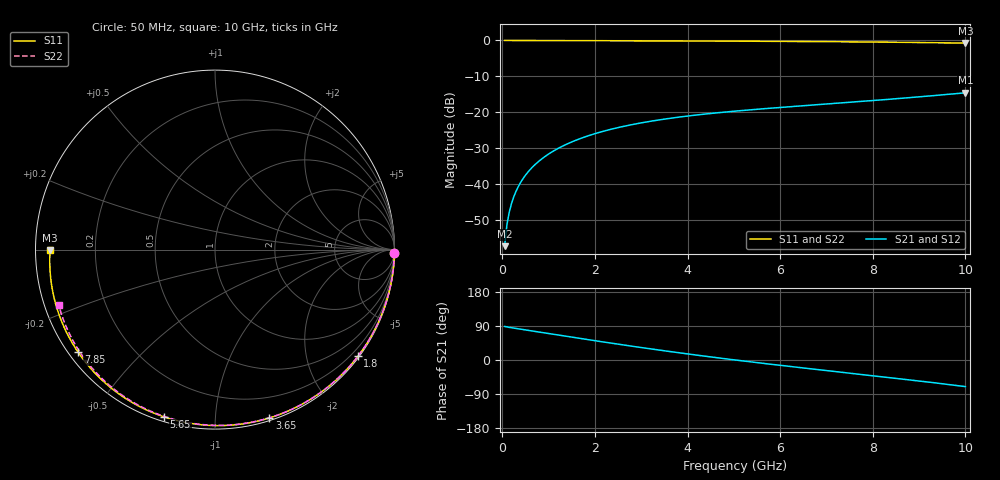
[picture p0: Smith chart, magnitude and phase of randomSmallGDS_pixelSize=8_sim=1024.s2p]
! freq	dB(S11)	phase(S11)	dB(S12)	phase(S12)
!  dB(S21)	phase(S21)	dB(S22)	phase(S22)
!S-par simulation data
#  GHz  S  DB  R 50
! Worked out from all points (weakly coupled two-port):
!   200 points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, 50 MHz to 10 GHz, reference 50 ohm
!   highest |S21| = -14.57 dB at 10 GHz (marker M1); lowest = -57.2 dB at 50 MHz (marker M2)
!   lowest |S11| = -0.7 dB at 10 GHz (marker M3), VSWR 23.62, Z = 2.12 - j0.0427 ohm
!   |S11| at or under -10 dB: nowhere
!   |S22| runs from -0.7 to 0.0 dB; largest |S21 - S12| = 0
!   S11 on the Smith chart (normalised r, x): 50 MHz: open; 1.8 GHz: 0.03, -3.01; 3.65 GHz: 0.02, -1.37; 5.65 GHz: 0.02, -0.74; 7.85 GHz: 0.03, -0.33; 10 GHz: 0.04, -0.00
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0.05  -0.00 -1.0  -57.22 88.5  -57.22 88.5  -0.00 -1.0
0.1  -0.00 -2.1  -51.25 87.2  -51.25 87.2  -0.00 -1.9
0.15  -0.00 -3.1  -47.77 86.1  -47.77 86.1  -0.00 -2.9
0.2  -0.00 -4.2  -45.32 85.1  -45.32 85.1  -0.00 -3.8
0.35  -0.01 -7.3  -40.54 82.2  -40.54 82.2  -0.01 -6.7
0.5  -0.01 -10.4  -37.49 79.4  -37.49 79.4  -0.01 -9.5
0.7  -0.02 -14.5  -34.62 75.6  -34.62 75.6  -0.02 -13.3
1  -0.03 -20.7  -31.59 69.9  -31.59 69.9  -0.03 -18.9
1.35  -0.04 -27.7  -29.09 63.2  -29.09 63.2  -0.04 -25.4
1.75  -0.05 -35.8  -26.98 55.6  -26.98 55.6  -0.05 -32.8
1.8  -0.06 -36.8  -26.76 54.7  -26.76 54.7  -0.05 -33.7
2.6  -0.08 -52.4  -23.95 40.0  -23.95 40.0  -0.08 -48.0
3.4  -0.11 -67.5  -22.07 26.0  -22.07 26.0  -0.11 -61.8
3.65  -0.13 -72.1  -21.61 21.8  -21.61 21.8  -0.12 -66.0
4.35  -0.16 -84.6  -20.51 10.5  -20.51 10.5  -0.15 -77.6
5.05  -0.19 -96.8  -19.63 -0.3  -19.63 -0.3  -0.18 -88.7
5.65  -0.23 -107.0  -18.99 -9.1  -18.99 -9.1  -0.21 -97.9
6.7  -0.30 -124.3  -17.97 -23.7  -17.97 -23.7  -0.28 -113.4
7.85  -0.42 -143.1  -16.87 -39.3  -16.87 -39.3  -0.39 -129.9
8.35  -0.48 -151.3  -16.37 -46.2  -16.37 -46.2  -0.44 -136.9
9.2  -0.60 -165.7  -15.47 -58.2  -15.47 -58.2  -0.55 -148.9
10  -0.74 -179.9  -14.57 -70.2  -14.57 -70.2  -0.69 -160.4
